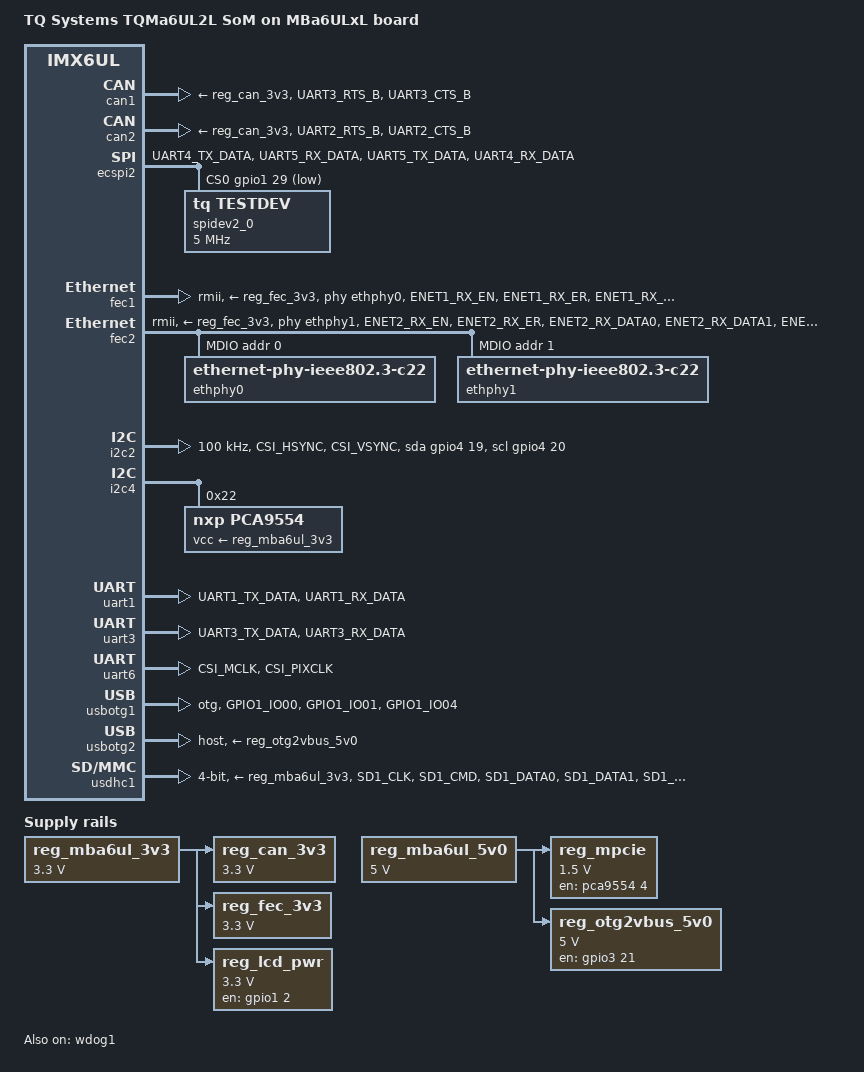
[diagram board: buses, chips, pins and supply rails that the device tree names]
// SPDX-License-Identifier: (GPL-2.0-or-later OR MIT)
/*
 * Copyright (c) 2016-2023 TQ-Systems GmbH <linux@ew.tq-group.com>,
 * D-82229 Seefeld, Germany.
 * Author: Marco Felsch
 * Author: Alexander Stein <Alexander.Stein@tq-group.com>
 */

/dts-v1/;

#include "imx6ul-tqma6ul2l.dtsi"

/ {
	model = "TQ Systems TQMa6UL2L SoM on MBa6ULxL board";
	compatible = "tq,imx6ul-tqma6ul2l-mba6ulxl", "tq,imx6ul-tqma6ul2l", "fsl,imx6ul";

	aliases {
		mmc0 = &usdhc2;
		mmc1 = &usdhc1;
		rtc0 = &rtc0;
		rtc1 = &snvs_rtc;
	};

	chosen {
		stdout-path = &uart1;
	};

	reg_can_3v3: regulator-can-3v3 {
		compatible = "regulator-fixed";
		regulator-name = "can-3v3";
		regulator-min-microvolt = <3300000>;
		regulator-max-microvolt = <3300000>;
		regulator-always-on;
		vin-supply = <&reg_mba6ul_3v3>;
	};

	reg_fec_3v3: regulator-fec-3v3 {
		compatible = "regulator-fixed";
		regulator-name = "fec-3v3";
		regulator-min-microvolt = <3300000>;
		regulator-max-microvolt = <3300000>;
		regulator-always-on;
		vin-supply = <&reg_mba6ul_3v3>;
	};

	reg_lcd_pwr: regulator-lcd-pwr {
		compatible = "regulator-fixed";
		regulator-name = "lcd-pwr";
		pinctrl-names = "default";
		pinctrl-0 = <&pinctrl_regdisp3v3>;
		gpio = <&gpio1 2 GPIO_ACTIVE_HIGH>;
		enable-active-high;
		/* always on -> VIO for STMPE, otherwise I2C stall */
		regulator-always-on;
		regulator-min-microvolt = <3300000>;
		regulator-max-microvolt = <3300000>;
		vin-supply = <&reg_mba6ul_3v3>;
	};

	reg_mba6ul_3v3: regulator-mba6ul-3v3 {
		compatible = "regulator-fixed";
		regulator-name = "supply-mba6ul-3v3";
		regulator-min-microvolt = <3300000>;
		regulator-max-microvolt = <3300000>;
		regulator-always-on;
	};

	reg_mba6ul_5v0: regulator-mba6ul-5v0 {
		compatible = "regulator-fixed";
		regulator-name = "supply-mba6ul-5v0";
		regulator-min-microvolt = <5000000>;
		regulator-max-microvolt = <5000000>;
		regulator-always-on;
	};

	reg_mpcie: regulator-mpcie-1v5 {
		compatible = "regulator-fixed";
		regulator-name = "mpcie-1v5";
		gpio = <&pca9554 4 GPIO_ACTIVE_HIGH>;
		enable-active-high;
		regulator-min-microvolt = <1500000>;
		regulator-max-microvolt = <1500000>;
		vin-supply = <&reg_mba6ul_5v0>;
		regulator-always-on;
	};

	reg_otg2vbus_5v0: regulator-otg2-vbus-5v0 {
		compatible = "regulator-fixed";
		pinctrl-names = "default";
		pinctrl-0 = <&pinctrl_usb_otg2>;
		gpio = <&gpio3 21 GPIO_ACTIVE_HIGH>;
		enable-active-high;
		regulator-name = "otg2-vbus-supply-5v0";
		regulator-min-microvolt = <5000000>;
		regulator-max-microvolt = <5000000>;
		vin-supply = <&reg_mba6ul_5v0>;
	};

	reserved-memory {
		#address-cells = <1>;
		#size-cells = <1>;
		ranges;

		linux,cma {
			compatible = "shared-dma-pool";
			reusable;
			size = <0x6000000>;
			linux,cma-default;
		};
	};
};

&can1 {
	pinctrl-names = "default";
	pinctrl-0 = <&pinctrl_flexcan1>;
	xceiver-supply = <&reg_can_3v3>;
	status = "okay";
};

&can2 {
	pinctrl-names = "default";
	pinctrl-0 = <&pinctrl_flexcan2>;
	xceiver-supply = <&reg_can_3v3>;
	status = "okay";
};

&ecspi2 {
	pinctrl-names = "default";
	pinctrl-0 = <&pinctrl_ecspi2>;
	cs-gpios = <&gpio1 29 GPIO_ACTIVE_LOW>;
	status = "okay";

	spidev2_0: spidev2-0@0 {
		compatible = "tq,testdev";
		spi-max-frequency = <5000000>;
		reg = <0>;
		status = "okay";
	};
};

&fec1 {
	pinctrl-names = "default";
	pinctrl-0 = <&pinctrl_enet1>;
	phy-mode = "rmii";
	phy-handle = <&ethphy0>;
	phy-supply = <&reg_fec_3v3>;
	phy-reset-gpios = <&pca9554 0 GPIO_ACTIVE_LOW>;
	phy-reset-duration = <26>;
	status = "okay";
};

&fec2 {
	pinctrl-names = "default";
	pinctrl-0 = <&pinctrl_enet2>;
	phy-mode = "rmii";
	phy-handle = <&ethphy1>;
	phy-supply = <&reg_fec_3v3>;
	phy-reset-gpios = <&pca9554 1 GPIO_ACTIVE_LOW>;
	phy-reset-duration = <26>;
	status = "okay";

	mdio {
		#address-cells = <1>;
		#size-cells = <0>;

		ethphy0: ethernet-phy@0 {
			compatible = "ethernet-phy-ieee802.3-c22";
			clocks = <&clks IMX6UL_CLK_ENET_REF>;
			max-speed = <100>;
			reg = <0>;
		};

		ethphy1: ethernet-phy@1 {
			compatible = "ethernet-phy-ieee802.3-c22";
			clocks = <&clks IMX6UL_CLK_ENET2_REF_125M>;
			max-speed = <100>;
			reg = <1>;
		};
	};
};

&i2c2 {
	clock-frequency = <100000>;
	pinctrl-names = "default", "gpio";
	pinctrl-0 = <&pinctrl_i2c2>;
	pinctrl-1 = <&pinctrl_i2c2_recovery>;
	scl-gpios = <&gpio4 20 (GPIO_ACTIVE_HIGH | GPIO_OPEN_DRAIN)>;
	sda-gpios = <&gpio4 19 (GPIO_ACTIVE_HIGH | GPIO_OPEN_DRAIN)>;
	status = "okay";
};

&i2c4 {
	/* port expander */
	pca9554: gpio-expander@22 {
		compatible = "nxp,pca9554";
		reg = <0x22>;
		gpio-controller;
		#gpio-cells = <2>;
		vcc-supply = <&reg_mba6ul_3v3>;
		status = "okay";

		boot-cfg-en-hog {
			gpio-hog;
			gpios = <2>;
			output-high;
			line-name = "boot_cfg_en";
		};
	};

	analog_touch: touchscreen@41 {
		pinctrl-names = "default";
		pinctrl-0 = <&pinctrl_analog_touch>;
		compatible = "st,stmpe811";
		reg = <0x41>;
		interrupts = <3 IRQ_TYPE_EDGE_FALLING>;
		interrupt-parent = <&gpio1>;
		interrupt-controller;
		status = "disabled";

		stmpe_touchscreen {
			compatible = "st,stmpe-ts";
			st,adc-freq = <1>;      /* 3.25 MHz ADC clock speed */
			st,ave-ctrl = <3>;      /* 8 sample average control */
			st,fraction-z = <7>;    /* 7 length fractional part in z */
			/*
			 * 50 mA typical 80 mA max touchscreen drivers
			 * current limit value
			 */
			st,i-drive = <1>;
			st,mod-12b = <1>;       /* 12-bit ADC */
			st,ref-sel = <0>;       /* internal ADC reference */
			st,sample-time = <4>;   /* ADC converstion time: 80 clocks */
			st,settling = <3>;      /* 1 ms panel driver settling time */
			st,touch-det-delay = <5>; /* 5 ms touch detect interrupt delay */
		};
	};
};

&pwm4 {
	pinctrl-names = "default";
	pinctrl-0 = <&pinctrl_pwm4>;
	status = "disabled";
};

&qspi {
	/* QSPI flash not assembled by default */
	status = "disabled";
};

&uart1 {
	pinctrl-names = "default";
	pinctrl-0 = <&pinctrl_uart1>;
	status = "okay";
};

&uart3 {
	pinctrl-names = "default";
	pinctrl-0 = <&pinctrl_uart3>;
	status = "okay";
};

&uart6 {
	pinctrl-names = "default";
	pinctrl-0 = <&pinctrl_uart6>;
	status = "okay";
};

/* otg-port */
&usbotg1 {
	pinctrl-names = "default";
	pinctrl-0 = <&pinctrl_usb_otg1>;
	power-active-high;
	over-current-active-low;
	/* we implement only dual role but not a fully featured OTG */
	hnp-disable;
	srp-disable;
	adp-disable;
	dr_mode = "otg";
	status = "okay";
};

/* 4-port usb hub */
/* id, pwr, oc pins not connected */
&usbotg2 {
	disable-over-current;
	vbus-supply = <&reg_otg2vbus_5v0>;
	dr_mode = "host";
	status = "okay";
};

&usdhc1 {
	pinctrl-names = "default";
	pinctrl-0 = <&pinctrl_usdhc1>;
	cd-gpios = <&gpio1 19 GPIO_ACTIVE_LOW>;
	disable-wp;
	bus-width = <4>;
	vmmc-supply = <&reg_mba6ul_3v3>;
	vqmmc-supply = <&reg_vccsd>;
	no-1-8-v;
	no-mmc;
	no-sdio;
	status = "okay";
};

&wdog1 {
	pinctrl-names = "default";
	pinctrl-0 = <&pinctrl_wdog1>;
	/* WDOG_B not connected by default on mainboard */
	/* fsl,ext-reset-output; */
	status = "okay";
};

&iomuxc {
	pinctrl-names = "default";
	pinctrl-0 = <&pinctrl_hog_mba6ulxl>;

	pinctrl_analog_touch: analogtouchgrp {
		fsl,pins = <
			MX6UL_PAD_GPIO1_IO03__GPIO1_IO03	0x4001b020
		>;
	};

	pinctrl_ecspi2: ecspi2grp {
		fsl,pins = <
			MX6UL_PAD_UART4_TX_DATA__ECSPI2_SCLK	0x1b020
			MX6UL_PAD_UART5_RX_DATA__ECSPI2_MISO	0x1b020
			MX6UL_PAD_UART5_TX_DATA__ECSPI2_MOSI	0x1b020
			MX6UL_PAD_UART4_RX_DATA__GPIO1_IO29	0x1b020
		>;
	};

	pinctrl_enet1: enet1grp {
		fsl,pins = <
			MX6UL_PAD_ENET1_RX_EN__ENET1_RX_EN	0x1b0b0
			MX6UL_PAD_ENET1_RX_ER__ENET1_RX_ER	0x1b0b0
			MX6UL_PAD_ENET1_RX_DATA0__ENET1_RDATA00	0x1b0b0
			MX6UL_PAD_ENET1_RX_DATA1__ENET1_RDATA01	0x1b0b0
			MX6UL_PAD_ENET1_TX_DATA0__ENET1_TDATA00	0x1b0b0
			MX6UL_PAD_ENET1_TX_DATA1__ENET1_TDATA01	0x1b0b0
			MX6UL_PAD_ENET1_TX_EN__ENET1_TX_EN	0x1b0b0
			MX6UL_PAD_ENET1_TX_CLK__ENET1_REF_CLK1	0x4001b0a8
		>;
	};

	pinctrl_enet2: enet2grp {
		fsl,pins = <
			MX6UL_PAD_ENET2_RX_EN__ENET2_RX_EN	0x1b0b0
			MX6UL_PAD_ENET2_RX_ER__ENET2_RX_ER	0x1b0b0
			MX6UL_PAD_ENET2_RX_DATA0__ENET2_RDATA00	0x1b0b0
			MX6UL_PAD_ENET2_RX_DATA1__ENET2_RDATA01	0x1b0b0
			MX6UL_PAD_ENET2_TX_DATA0__ENET2_TDATA00	0x1b0a0
			MX6UL_PAD_ENET2_TX_DATA1__ENET2_TDATA01	0x1b0a0
			MX6UL_PAD_ENET2_TX_EN__ENET2_TX_EN	0x1b0b0
			MX6UL_PAD_ENET2_TX_CLK__ENET2_REF_CLK2	0x4001b0a8
			/* mdio */
			MX6UL_PAD_GPIO1_IO07__ENET2_MDC		0x1b0b0
			MX6UL_PAD_GPIO1_IO06__ENET2_MDIO	0x1b0b0
		>;
	};

	pinctrl_flexcan1: flexcan1grp {
		fsl,pins = <
			MX6UL_PAD_UART3_RTS_B__FLEXCAN1_RX	0x1b020
			MX6UL_PAD_UART3_CTS_B__FLEXCAN1_TX	0x1b020
		>;
	};

	pinctrl_flexcan2: flexcan2grp {
		fsl,pins = <
			MX6UL_PAD_UART2_RTS_B__FLEXCAN2_RX	0x1b020
			MX6UL_PAD_UART2_CTS_B__FLEXCAN2_TX	0x1b020
		>;
	};

	pinctrl_hog_mba6ulxl: hogmba6ulxlgrp {
		fsl,pins = <
			MX6UL_PAD_CSI_DATA00__GPIO4_IO21	0x4001b020
			MX6UL_PAD_CSI_DATA01__GPIO4_IO22	0x4001b020
			MX6UL_PAD_CSI_DATA02__GPIO4_IO23	0x4001b020
			/*
			 * GPIO4_IO24 is connected to PMIC IRQ by default
			 * Already claimed in imx6ul-tqma6ul-common.dtsi
			 */
			/* MX6UL_PAD_CSI_DATA03__GPIO4_IO24	0x4001b020 */
			MX6UL_PAD_CSI_DATA04__GPIO4_IO25	0x4001b020
			MX6UL_PAD_CSI_DATA05__GPIO4_IO26	0x4001b020
			MX6UL_PAD_CSI_DATA06__GPIO4_IO27	0x4001b020
			MX6UL_PAD_CSI_DATA07__GPIO4_IO28	0x4001b020
		>;
	};

	pinctrl_i2c2: i2c2grp {
		fsl,pins = <
			MX6UL_PAD_CSI_HSYNC__I2C2_SCL		0x4001b8b0
			MX6UL_PAD_CSI_VSYNC__I2C2_SDA		0x4001b8b0
		>;
	};

	pinctrl_i2c2_recovery: i2c2recoverygrp {
		fsl,pins = <
			MX6UL_PAD_CSI_HSYNC__GPIO4_IO20		0x4001b8b0
			MX6UL_PAD_CSI_VSYNC__GPIO4_IO19		0x4001b8b0
		>;
	};

	pinctrl_pwm4: pwm4grp {
		fsl,pins = <
			/* 100 k PD, DSE 120 OHM, SPPEED LO */
			MX6UL_PAD_GPIO1_IO05__PWM4_OUT		0x00003050
		>;
	};

	pinctrl_regdisp3v3: regdisp3v3grp {
		fsl,pins = <
			MX6UL_PAD_GPIO1_IO02__GPIO1_IO02	0x4001b020
		>;
	};

	pinctrl_uart1: uart1grp {
		fsl,pins = <
			MX6UL_PAD_UART1_TX_DATA__UART1_DCE_TX	0x1b0b1
			MX6UL_PAD_UART1_RX_DATA__UART1_DCE_RX	0x1b0b1
		>;
	};

	pinctrl_uart3: uart3grp {
		fsl,pins = <
			MX6UL_PAD_UART3_TX_DATA__UART3_DCE_TX	0x1b0b1
			MX6UL_PAD_UART3_RX_DATA__UART3_DCE_RX	0x1b0b1
		>;
	};

	pinctrl_uart6: uart6grp {
		fsl,pins = <
			MX6UL_PAD_CSI_MCLK__UART6_DCE_TX	0x1b0b1
			MX6UL_PAD_CSI_PIXCLK__UART6_DCE_RX	0x1b0b1
		>;
	};

	pinctrl_usb_otg1: usbotg1grp {
		fsl,pins = <
			MX6UL_PAD_GPIO1_IO00__ANATOP_OTG1_ID	0x00017059
			MX6UL_PAD_GPIO1_IO01__USB_OTG1_OC	0x0001b0b0
			MX6UL_PAD_GPIO1_IO04__USB_OTG1_PWR	0x0001b099
		>;
	};

	pinctrl_usb_otg2: usbotg2grp {
		fsl,pins = <
			/* reset */
			MX6UL_PAD_LCD_DATA16__GPIO3_IO21	0x0001b099
		>;
	};

	pinctrl_usdhc1: usdhc1grp {
		fsl,pins = <
			MX6UL_PAD_SD1_CLK__USDHC1_CLK		0x00017069
			MX6UL_PAD_SD1_CMD__USDHC1_CMD		0x00017059
			MX6UL_PAD_SD1_DATA0__USDHC1_DATA0	0x00017059
			MX6UL_PAD_SD1_DATA1__USDHC1_DATA1	0x00017059
			MX6UL_PAD_SD1_DATA2__USDHC1_DATA2	0x00017059
			MX6UL_PAD_SD1_DATA3__USDHC1_DATA3	0x00017059
			/* CD */
			MX6UL_PAD_UART1_RTS_B__GPIO1_IO19	0x0001b099
		>;
	};

	pinctrl_usdhc1_100mhz: usdhc1-100mhzgrp {
		fsl,pins = <
			MX6UL_PAD_SD1_CLK__USDHC1_CLK		0x00017069
			MX6UL_PAD_SD1_CMD__USDHC1_CMD		0x000170b9
			MX6UL_PAD_SD1_DATA0__USDHC1_DATA0	0x000170b9
			MX6UL_PAD_SD1_DATA1__USDHC1_DATA1	0x000170b9
			MX6UL_PAD_SD1_DATA2__USDHC1_DATA2	0x000170b9
			MX6UL_PAD_SD1_DATA3__USDHC1_DATA3	0x000170b9
			/* CD */
			MX6UL_PAD_UART1_RTS_B__GPIO1_IO19	0x0001b099
		>;
	};

	pinctrl_usdhc1_200mhz: usdhc1-200mhzgrp {
		fsl,pins = <
			MX6UL_PAD_SD1_CLK__USDHC1_CLK		0x00017069
			MX6UL_PAD_SD1_CMD__USDHC1_CMD		0x000170f9
			MX6UL_PAD_SD1_DATA0__USDHC1_DATA0	0x000170f9
			MX6UL_PAD_SD1_DATA1__USDHC1_DATA1	0x000170f9
			MX6UL_PAD_SD1_DATA2__USDHC1_DATA2	0x000170f9
			MX6UL_PAD_SD1_DATA3__USDHC1_DATA3	0x000170f9
			/* CD */
			MX6UL_PAD_UART1_RTS_B__GPIO1_IO19	0x0001b099
		>;
	};

	pinctrl_wdog1: wdog1grp {
		fsl,pins = <
			MX6UL_PAD_GPIO1_IO08__WDOG1_WDOG_B	0x0001b099
		>;
	};
};
